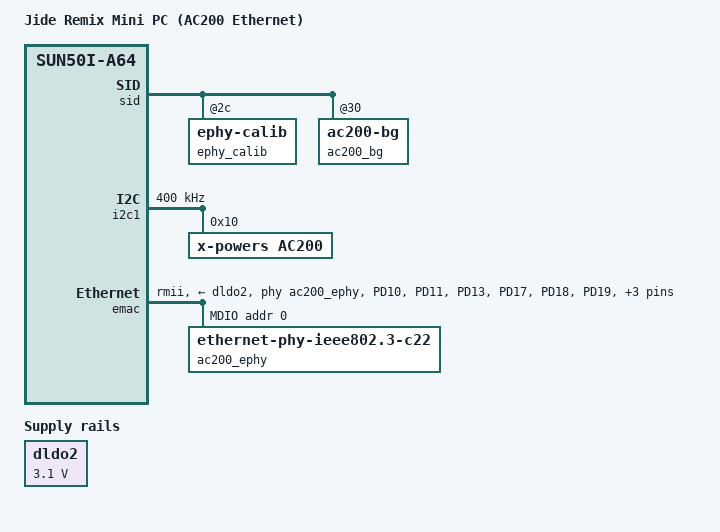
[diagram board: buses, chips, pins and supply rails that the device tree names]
// SPDX-License-Identifier: (GPL-2.0+ OR MIT)
/*
 * Device Tree Source for Jide Remix Mini (RM1G) with X-Powers AC200 Ethernet
 *
 * Extends the upstream arch/arm64/boot/dts/allwinner/sun50i-h64-remix-mini-pc.dts
 * by configuring the internal EMAC controller, MDIO bus, AXP803/813 PMIC DLDO2 (3.1V),
 * pinctrl RMII lines (excluding PD14), and X-Powers AC200 EPHY via I2C-1.
 */

/dts-v1/;
#include "sun50i-h64-remix-mini-pc.dts"

/ {
	model = "Jide Remix Mini PC (AC200 Ethernet)";
	compatible = "jide,remix-mini-rm1g", "jide,remix-mini-pc",
	             "allwinner,sun50i-h64", "allwinner,sun50i-a64";

	aliases {
		ethernet0 = &emac;
	};
};

&sid {
	ephy_calib: ephy-calib@2c {
		reg = <0x2c 0x02>;
	};
	ac200_bg: ac200-bg@30 {
		reg = <0x30 0x02>;
	};
};

/* 1. Pinmux: exclude PD14 to prevent interference on Remix Mini hardware */
&pio {
	rmii_pins: rmii-pins {
		pins = "PD10", "PD11", "PD13", "PD17", "PD18", "PD19", "PD20", "PD22", "PD23";
		function = "emac";
		drive-strength = <40>;
	};
};

/* 2. PMIC: Power up AC200 analog core via DLDO2 at 3.1V */
&dldo2 {
	regulator-name = "dldo2";
	regulator-min-microvolt = <3100000>;
	regulator-max-microvolt = <3100000>;
	regulator-always-on;
};

&dc1sw {
	regulator-always-on;
};

/* 3. AC200 Multi-Function Device (MFD) on TWI1 (I2C-1, 0x01c2ac00, slave 0x10) */
&i2c1 {
	pinctrl-names = "default";
	pinctrl-0 = <&i2c1_pins>;
	status = "okay";
	clock-frequency = <400000>;

	ac200: mfd@10 {
		compatible = "x-powers,ac200";
		reg = <0x10>;
		clocks = <&osc24M>;
		nvmem-cells = <&ac200_bg>;
		nvmem-cell-names = "bandgap";

		ac200_ephy_ctl: syscon {
			compatible = "x-powers,ac200-ephy-ctl";
			nvmem-cells = <&ephy_calib>;
			nvmem-cell-names = "calibration";
			#clock-cells = <0>;
			#reset-cells = <0>;
			phy-mode = "rmii";
			status = "okay";
			x-powers,led-polarity = <0>;
			phy-address = <0>;
		};
	};
};

/* 4. EMAC controller with internal MDIO and AC200 EPHY binding */
&emac {
	pinctrl-names = "default";
	pinctrl-0 = <&rmii_pins>;
	phy-mode = "rmii";
	phy-handle = <&ac200_ephy>;
	phy-supply = <&dldo2>;
	local-mac-address = [02 12 34 56 78 9a];
	status = "okay";

	mdio {
		compatible = "snps,dwmac-mdio";
		#address-cells = <1>;
		#size-cells = <0>;

		ac200_ephy: ethernet-phy@0 {
			compatible = "ethernet-phy-ieee802.3-c22";
			reg = <0>;
			clocks = <&ac200_ephy_ctl>;
			resets = <&ac200_ephy_ctl>;
		};
	};
};
